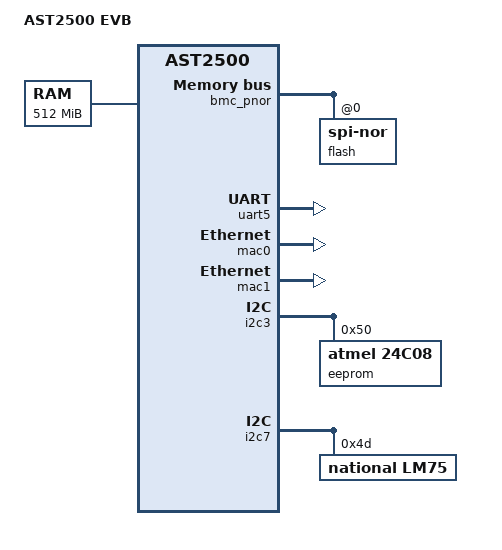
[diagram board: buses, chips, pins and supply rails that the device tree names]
/dts-v1/;

#include "aspeed-g5.dtsi"

/ {
	model = "AST2500 EVB";
	compatible = "aspeed,ast2500-evb", "aspeed,ast2500";

	aliases {
		serial4 = &uart5;
	};

	chosen {
		stdout-path = &uart5;
		bootargs = "console=ttyS4,115200 earlyprintk";
	};

	memory {
		reg = <0x80000000 0x20000000>;
	};

	ahb {
		bmc_pnor: fmc@1e620000 {
			reg = < 0x1e620000 0x94
				0x20000000 0x02000000 >;
			#address-cells = <1>;
			#size-cells = <0>;
			compatible = "aspeed,ast2500-fmc";
			flash@0 {
				reg = < 0 >;
				compatible = "jedec,spi-nor" ;
#include "aspeed-bmc-opp-flash-layout.dtsi"
			};
		};
	};
};

&uart5 {
	status = "okay";
};

&mac0 {
	status = "okay";

	pinctrl-names = "default";
	pinctrl-0 = <&pinctrl_rgmii1_default>;
};

&mac1 {
	status = "okay";

	pinctrl-names = "default";
	pinctrl-0 = <&pinctrl_rgmii2_default>;
};

&i2c3 {
	status = "okay";

	eeprom@50 {
		compatible = "atmel,24c08";
		reg = <0x50>;
		pagesize = <16>;
	};
};

&i2c7 {
	status = "okay";

	lm75@4d {
		compatible = "national,lm75";
		reg = <0x4d>;
	};
};
